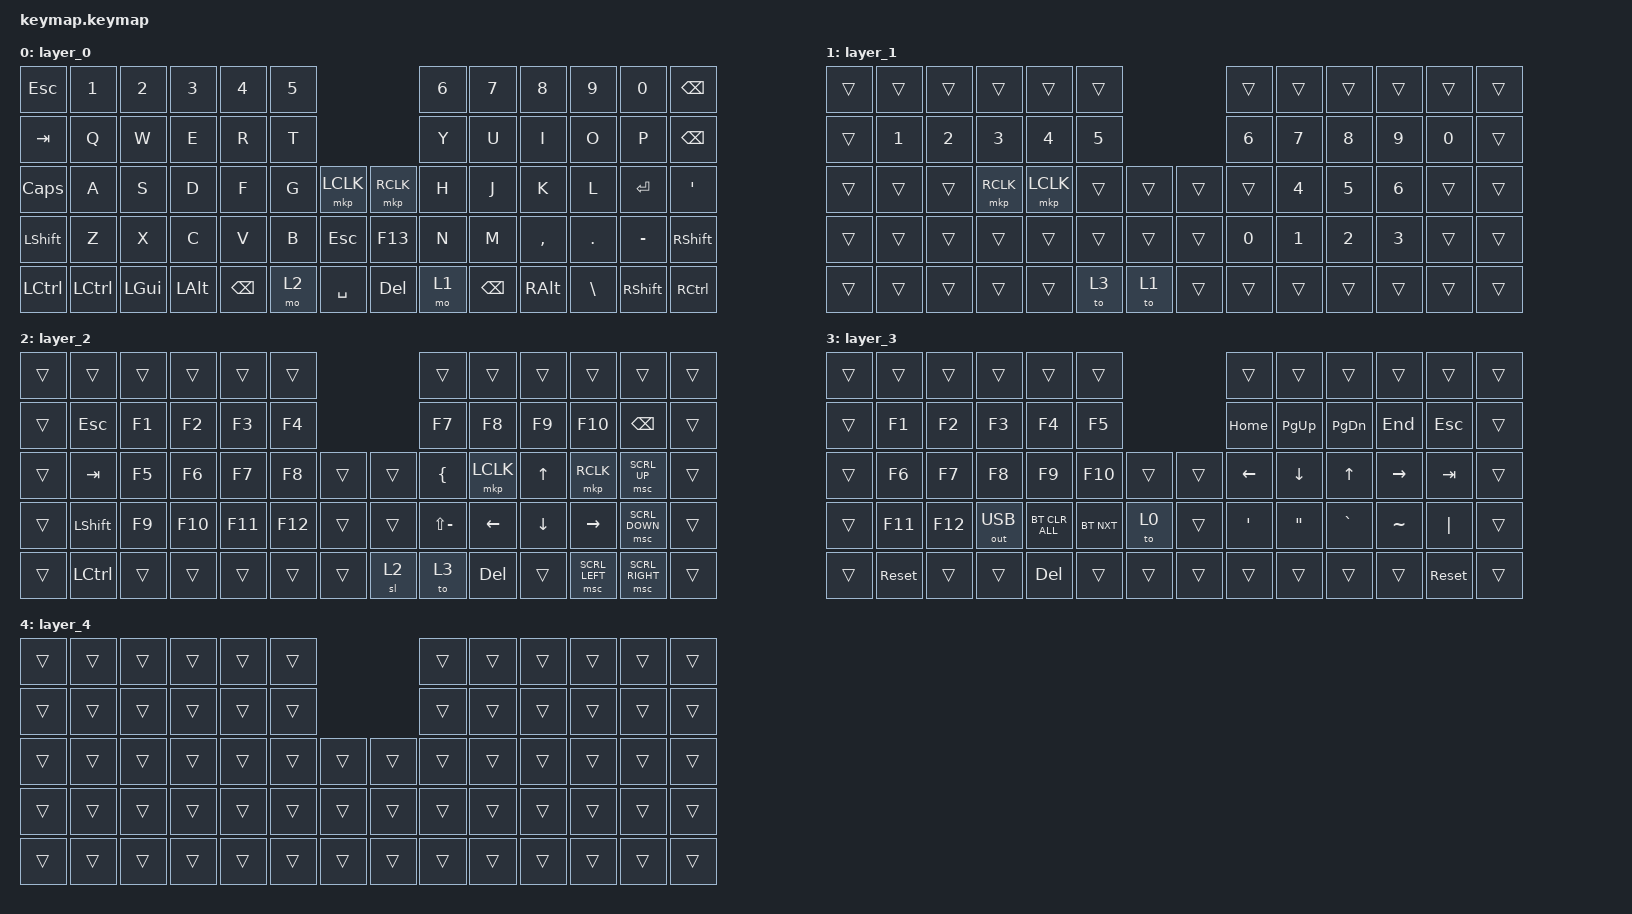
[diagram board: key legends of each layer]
#include <behaviors.dtsi>
#include <dt-bindings/zmk/bt.h>
#include <dt-bindings/zmk/keys.h>
#include <dt-bindings/zmk/outputs.h>
#include <dt-bindings/zmk/pointing.h>

/ {
    combos {
        compatible = "zmk,combos";

        bt_clear {
            bindings = <&bt BT_CLR>;
            key-positions = <28 29>;
            layers = <2>;
        };

        mouse {
            bindings = <&to 2>;
            key-positions = <64 63>;
            slow-release;
            layers = <0>;
        };
    };

    keymap {
        compatible = "zmk,keymap";

        layer_0 {
            bindings = <
&kp ESC    &kp N1            &kp N2        &kp N3    &kp N4    &kp N5                         &kp N6  &kp N7    &kp N8     &kp N9    &kp N0     &kp BACKSPACE
&kp TAB    &kp Q             &kp W         &kp E     &kp R     &kp T                          &kp Y   &kp U     &kp I      &kp O     &kp P      &kp BSPC
&kp CAPS   &kp A             &kp S         &kp D     &kp F     &kp G   &mkp LCLK  &mkp RCLK   &kp H   &kp J     &kp K      &kp L     &kp ENTER  &kp SQT
&kp LSHFT  &kp Z             &kp X         &kp C     &kp V     &kp B   &kp ESC    &kp F13     &kp N   &kp M     &kp COMMA  &kp DOT   &kp MINUS  &kp RSHFT
&kp LCTRL  &kp LEFT_CONTROL  &kp LEFT_GUI  &kp LALT  &kp BSPC  &mo 2   &kp SPACE  &kp DELETE  &mo 1   &kp BSPC  &kp RALT   &kp BSLH  &kp RSHFT  &kp RCTRL
            >;
        };

        layer_1 {
            bindings = <
&trans  &trans  &trans  &trans     &trans     &trans                  &trans  &trans        &trans  &trans  &trans  &trans
&trans  &kp N1  &kp N2  &kp N3     &kp N4     &kp N5                  &kp N6  &kp N7        &kp N8  &kp N9  &kp N0  &trans
&trans  &trans  &trans  &mkp RCLK  &mkp LCLK  &trans  &trans  &trans  &trans  &kp NUMBER_4  &kp N5  &kp N6  &trans  &trans
&trans  &trans  &trans  &trans     &trans     &trans  &trans  &trans  &kp N0  &kp N1        &kp N2  &kp N3  &trans  &trans
&trans  &trans  &trans  &trans     &trans     &to 3   &to 1   &trans  &trans  &trans        &trans  &trans  &trans  &trans
            >;
        };

        layer_2 {
            bindings = <
&trans  &trans            &trans  &trans   &trans   &trans                   &trans          &trans          &trans    &trans          &trans           &trans
&trans  &kp ESCAPE        &kp F1  &kp F2   &kp F3   &kp F4                   &kp F7          &kp F8          &kp F9    &kp F10         &kp BACKSPACE    &trans
&trans  &kp TAB           &kp F5  &kp F6   &kp F7   &kp F8   &trans  &trans  &kp LEFT_BRACE  &mkp LCLK       &kp UP    &mkp RCLK       &msc SCRL_UP     &trans
&trans  &kp LEFT_SHIFT    &kp F9  &kp F10  &kp F11  &kp F12  &trans  &trans  &kp LS(MINUS)   &kp LEFT_ARROW  &kp DOWN  &kp RIGHT       &msc SCRL_DOWN   &trans
&trans  &kp LEFT_CONTROL  &trans  &trans   &trans   &trans   &trans  &sl 2   &to 3           &kp DEL         &trans    &msc SCRL_LEFT  &msc SCRL_RIGHT  &trans
            >;
        };

        layer_3 {
            bindings = <
&trans  &trans      &trans   &trans        &trans          &trans                      &trans            &trans     &trans         &trans     &trans      &trans
&trans  &kp F1      &kp F2   &kp F3        &kp F4          &kp F5                      &kp HOME          &kp PG_UP  &kp PAGE_DOWN  &kp END    &kp ESCAPE  &trans
&trans  &kp F6      &kp F7   &kp F8        &kp F9          &kp F10     &trans  &trans  &kp LEFT          &kp DOWN   &kp UP_ARROW   &kp RIGHT  &kp TAB     &trans
&trans  &kp F11     &kp F12  &out OUT_USB  &bt BT_CLR_ALL  &bt BT_NXT  &to 0   &trans  &kp SINGLE_QUOTE  &kp DQT    &kp GRAVE      &kp TILDE  &kp PIPE    &trans
&trans  &sys_reset  &trans   &trans        &kp DELETE      &trans      &trans  &trans  &trans            &trans     &trans         &trans     &sys_reset  &trans
            >;
        };

        layer_4 {
            bindings = <
&trans  &trans  &trans  &trans  &trans  &trans                  &trans  &trans  &trans  &trans  &trans  &trans
&trans  &trans  &trans  &trans  &trans  &trans                  &trans  &trans  &trans  &trans  &trans  &trans
&trans  &trans  &trans  &trans  &trans  &trans  &trans  &trans  &trans  &trans  &trans  &trans  &trans  &trans
&trans  &trans  &trans  &trans  &trans  &trans  &trans  &trans  &trans  &trans  &trans  &trans  &trans  &trans
&trans  &trans  &trans  &trans  &trans  &trans  &trans  &trans  &trans  &trans  &trans  &trans  &trans  &trans
            >;
        };
    };
};
